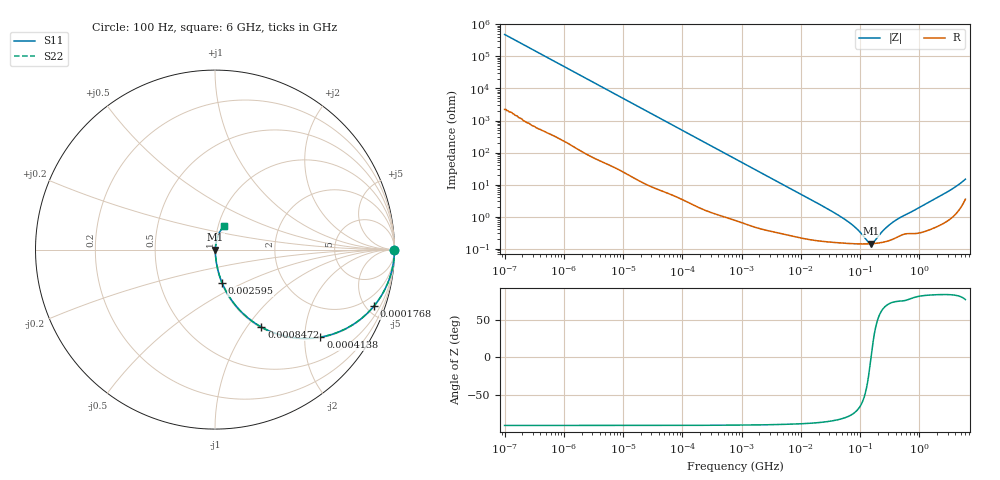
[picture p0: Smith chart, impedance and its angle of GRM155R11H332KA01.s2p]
!Murata Part Number: GRM155R11H332KA01
!These Parameters are Measured in Series Mode Connection
!Data Generated on Mar 30, 2021
!  o--ll--o
!Port1  Port2
!  o------o
!Operation Temp=25[degC], DC Bias Voltage=0[V]
!Freq. Start=100[Hz] Stop=6[GHz] 401[Steps]
# Hz S RI R 50
!Freq.(Hz) S11(Real) S11(Imag) S21(Real) S21(Imag) S12(Real) S12(Imag) S22(Real) S22(Imag)
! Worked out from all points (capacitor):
!   401 points, 100 Hz to 6 GHz, reference 50 ohm
!   read as one part in series: C = 3.3 nF near 109 Hz
!   lowest |Z| = 144 mohm at 152.6 MHz (marker M1)
!   series resonance near 153.2 MHz, so ESL is about 330 pH
!   S11 on the Smith chart (normalised r, x): 100 Hz: open; 176.8 kHz: 1.04, -5.58; 413.8 kHz: 1.02, -2.39; 847.2 kHz: 1.01, -1.17; 2.595 MHz: 1.01, -0.39; 6 GHz: 1.07, +0.29
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100  1 -0.000208  1e-06 0.000208  1e-06 0.000208  1 -0.000208
2008  1 -0.00413  3.55e-05 0.00413  3.55e-05 0.00413  1 -0.00413
40335  0.9928 -0.0817  0.00719 0.0817  0.00719 0.0817  0.9928 -0.0817
98762  0.96 -0.1925  0.04 0.1925  0.04 0.1925  0.96 -0.1925
176758  0.8843 -0.3162  0.1157 0.3162  0.1157 0.3162  0.8843 -0.3162
264476  0.7752 -0.4135  0.2248 0.4135  0.2248 0.4135  0.7752 -0.4135
413847  0.5874 -0.4876  0.4126 0.4876  0.4126 0.4876  0.5874 -0.4876
774597  0.2934 -0.4494  0.7066 0.4494  0.7066 0.4494  0.2934 -0.4494
847162  0.2585 -0.4316  0.7415 0.4316  0.7415 0.4316  0.2585 -0.4316
1386327  0.118 -0.3154  0.882 0.3154  0.882 0.3154  0.118 -0.3154
2594782  0.0392 -0.1845  0.9608 0.1845  0.9608 0.1845  0.0392 -0.1845
1.555665e7  0.00292 -0.0323  0.9971 0.0323  0.9971 0.0323  0.00292 -0.0323
6.233367e7  0.00151 -0.00693  0.9985 0.00693  0.9985 0.00693  0.00151 -0.00693
9.326766e7  0.00143 -0.00351  0.9986 0.00351  0.9986 0.00351  0.00143 -0.00351
1.334425e8  0.00142 -0.000944  0.9986 0.000944  0.9986 0.000944  0.00142 -0.000944
1.526266e8  0.00144 -2.66e-05  0.9986 2.66e-05  0.9986 2.66e-05  0.00144 -2.66e-05
1.745687e8  0.00147 0.000892  0.9985 -0.000892  0.9985 -0.000892  0.00147 0.000892
2.388273e8  0.00159 0.00312  0.9984 -0.00312  0.9984 -0.00312  0.00159 0.00312
3.124326e8  0.00183 0.00525  0.9982 -0.00525  0.9982 -0.00525  0.00183 0.00525
4.674818e8  0.00259 0.00888  0.9974 -0.00888  0.9974 -0.00888  0.00259 0.00888
2.142435e9  0.00689 0.0412  0.9931 -0.0412  0.9931 -0.0412  0.00689 0.0412
6e9  0.0523 0.132  0.9477 -0.132  0.9477 -0.132  0.0523 0.132
